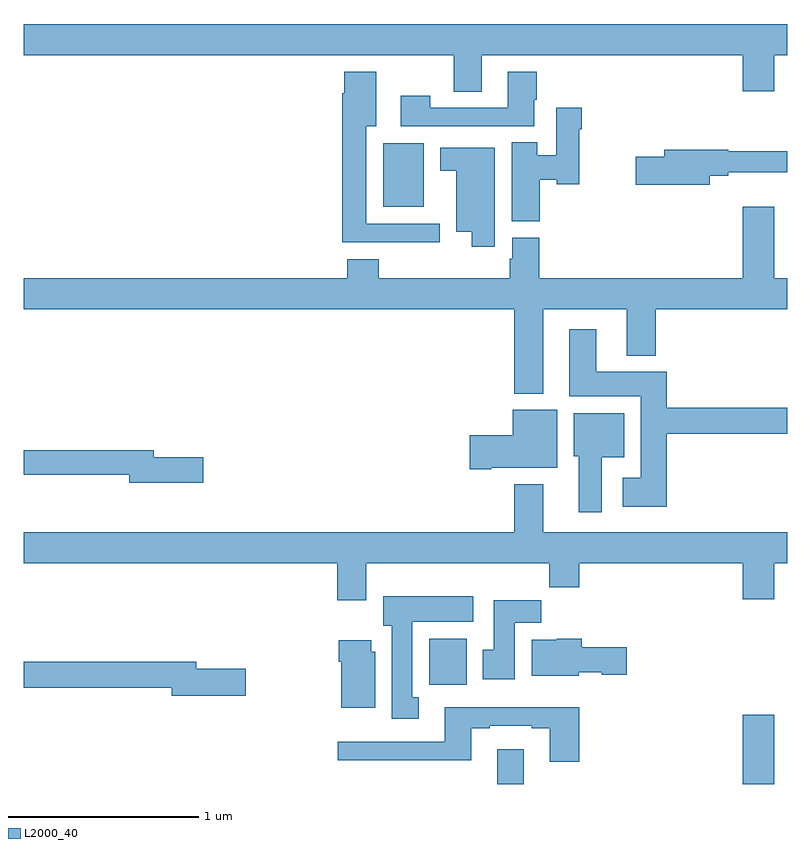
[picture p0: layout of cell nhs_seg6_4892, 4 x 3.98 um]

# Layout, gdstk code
import gdstk
lib = gdstk.Library(unit=1e-6, precision=1e-09)
def R(c, l, rs):  # rectangles x0, y0, x1, y1
    for r in rs: c.add(gdstk.rectangle(r[:2], r[2:], *l))
def P(c, l, *ps):  # polygons
    for p in ps: c.add(gdstk.Polygon(p, *l))
L2000_40 = (2000, 40)

nhs_seg6_4892 = lib.new_cell('nhs_seg6_4892')
R(nhs_seg6_4892, L2000_40, [(403.481,959.5,403.621,959.683), (404.768,959.5,404.932,959.863), (403.124,960.02,403.321,960.262), (402.884,962.525,403.096,962.86)])
P(nhs_seg6_4892, L2000_40, [(403.399,963.32),(404.768,963.32),(404.768,963.132),(404.932,963.132),(404.932,963.32),(405,963.32),(405,963.484),(401,963.484),(401,963.32),(403.252,963.32),(403.252,963.13),(403.399,963.13)],
  [(403.675,963.087),(403.688,963.087),(403.688,963.235),(403.535,963.235),(403.535,963.045),(403.131,963.045),(403.131,963.109),(402.975,963.109),(402.975,962.949),(403.675,962.949)],
  [(403.18,962.436),(402.793,962.436),(402.793,962.948),(402.847,962.948),(402.847,963.235),(402.68,963.235),(402.68,963.122),(402.668,963.122),(402.668,962.339),(403.18,962.339)],
  [(403.703,962.668),(403.794,962.668),(403.794,962.645),(403.912,962.645),(403.912,962.933),(403.925,962.933),(403.925,963.046),(403.79,963.046),(403.79,962.797),(403.69,962.797),(403.69,962.864),(403.556,962.864),(403.556,962.449),(403.703,962.449)],
  [(403.468,962.836),(403.181,962.836),(403.181,962.714),(403.265,962.714),(403.265,962.396),(403.346,962.396),(403.346,962.316),(403.468,962.316)],
  [(404.596,962.689),(404.692,962.689),(404.692,962.708),(405,962.708),(405,962.818),(404.692,962.818),(404.692,962.825),(404.357,962.825),(404.357,962.789),(404.208,962.789),(404.208,962.642),(404.596,962.642)],
  [(403.723,961.988),(404.159,961.988),(404.159,961.745),(404.312,961.745),(404.312,961.988),(405,961.988),(405,962.152),(404.932,962.152),(404.932,962.527),(404.768,962.527),(404.768,962.152),(403.7,962.152),(403.7,962.364),(403.559,962.364),(403.559,962.253),(403.547,962.253),(403.547,962.152),(402.86,962.152),(402.86,962.251),(402.695,962.251),(402.695,962.152),(401,962.152),(401,961.988),(403.571,961.988),(403.571,961.547),(403.723,961.547)],
  [(404.369,961.336),(405,961.336),(405,961.472),(404.369,961.472),(404.369,961.66),(403.999,961.66),(403.999,961.885),(403.859,961.885),(403.859,961.532),(404.234,961.532),(404.234,961.105),(404.139,961.105),(404.139,960.953),(404.369,960.953)],
  [(403.45,961.157),(403.795,961.157),(403.795,961.462),(403.562,961.462),(403.562,961.328),(403.338,961.328),(403.338,961.15),(403.45,961.15)],
  [(404.029,961.214),(404.146,961.214),(404.146,961.444),(403.883,961.444),(403.883,961.218),(403.907,961.218),(403.907,960.924),(404.029,960.924)],
  [(401.941,961.214),(401.68,961.214),(401.68,961.25),(401,961.25),(401,961.122),(401.552,961.122),(401.552,961.079),(401.941,961.079)],
  [(402.793,960.656),(403.753,960.656),(403.753,960.532),(403.91,960.532),(403.91,960.656),(404.768,960.656),(404.768,960.468),(404.932,960.468),(404.932,960.656),(405,960.656),(405,960.82),(403.723,960.82),(403.723,961.072),(403.571,961.072),(403.571,960.82),(401,960.82),(401,960.656),(402.641,960.656),(402.641,960.462),(402.793,960.462)],
  [(403.069,959.954),(403.036,959.954),(403.036,960.35),(403.354,960.35),(403.354,960.484),(402.884,960.484),(402.884,960.33),(402.929,960.33),(402.929,959.841),(403.069,959.841)],
  [(403.573,960.344),(403.712,960.344),(403.712,960.463),(403.463,960.463),(403.463,960.204),(403.406,960.204),(403.406,960.048),(403.573,960.048)],
  [(403.908,960.086),(404.028,960.086),(404.028,960.074),(404.161,960.074),(404.161,960.216),(403.925,960.216),(403.925,960.262),(403.794,960.262),(403.794,960.256),(403.661,960.256),(403.661,960.068),(403.908,960.068)],
  [(402.841,960.192),(402.82,960.192),(402.82,960.253),(402.65,960.253),(402.65,960.14),(402.662,960.14),(402.662,959.9),(402.841,959.9)],
  [(402.163,960.104),(401.902,960.104),(401.902,960.14),(401,960.14),(401,960.004),(401.774,960.004),(401.774,959.962),(402.163,959.962)],
  [(403.91,959.902),(403.205,959.902),(403.205,959.721),(402.645,959.721),(402.645,959.624),(403.345,959.624),(403.345,959.793),(403.441,959.793),(403.441,959.805),(403.661,959.805),(403.661,959.793),(403.757,959.793),(403.757,959.616),(403.91,959.616)])

lib.write_gds('nhs_seg6_4892.gds')
